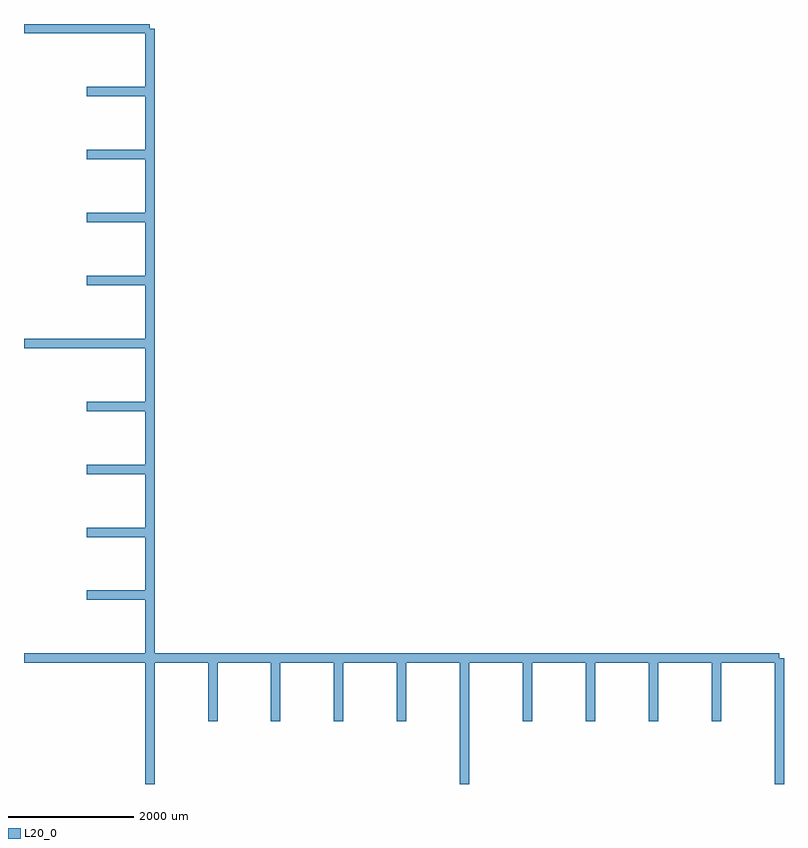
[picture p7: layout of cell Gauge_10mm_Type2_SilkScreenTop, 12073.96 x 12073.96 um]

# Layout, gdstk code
import gdstk
lib = gdstk.Library(unit=1e-6, precision=1e-09)
L20_0 = (20, 0)

gauge_10mm_type2_silkscr = lib.new_cell('Gauge_10mm_Type2_SilkScreenTop')
gauge_10mm_type2_silkscr.add(gdstk.FlexPath([(9999.98,0),(9999.98,-1998.98)], 149.998, ends="flush", simple_path=True, layer=20, datatype=0))  # L20_0
gauge_10mm_type2_silkscr.add(gdstk.FlexPath([(0,0),(9999.98,0)], 149.998, ends="flush", simple_path=True, layer=20, datatype=0))  # L20_0
gauge_10mm_type2_silkscr.add(gdstk.FlexPath([(0,0),(0,-1998.98)], 149.998, ends="flush", simple_path=True, layer=20, datatype=0))  # L20_0
gauge_10mm_type2_silkscr.add(gdstk.FlexPath([(5001.26,0),(5001.26,-1998.98)], 149.998, ends="flush", simple_path=True, layer=20, datatype=0))  # L20_0
gauge_10mm_type2_silkscr.add(gdstk.FlexPath([(1000.76,0),(1000.76,-1000.76)], 149.998, ends="flush", simple_path=True, layer=20, datatype=0))  # L20_0
gauge_10mm_type2_silkscr.add(gdstk.FlexPath([(1998.98,0),(1998.98,-1000.76)], 149.998, ends="flush", simple_path=True, layer=20, datatype=0))  # L20_0
gauge_10mm_type2_silkscr.add(gdstk.FlexPath([(2999.74,0),(2999.74,-1000.76)], 149.998, ends="flush", simple_path=True, layer=20, datatype=0))  # L20_0
gauge_10mm_type2_silkscr.add(gdstk.FlexPath([(4000.5,0),(4000.5,-1000.76)], 149.998, ends="flush", simple_path=True, layer=20, datatype=0))  # L20_0
gauge_10mm_type2_silkscr.add(gdstk.FlexPath([(5999.48,0),(5999.48,-1000.76)], 149.998, ends="flush", simple_path=True, layer=20, datatype=0))  # L20_0
gauge_10mm_type2_silkscr.add(gdstk.FlexPath([(7000.24,0),(7000.24,-1000.76)], 149.998, ends="flush", simple_path=True, layer=20, datatype=0))  # L20_0
gauge_10mm_type2_silkscr.add(gdstk.FlexPath([(8001,0),(8001,-1000.76)], 149.998, ends="flush", simple_path=True, layer=20, datatype=0))  # L20_0
gauge_10mm_type2_silkscr.add(gdstk.FlexPath([(8999.22,0),(8999.22,-1000.76)], 149.998, ends="flush", simple_path=True, layer=20, datatype=0))  # L20_0
gauge_10mm_type2_silkscr.add(gdstk.FlexPath([(0,0),(0,9999.98)], 149.998, ends="flush", simple_path=True, layer=20, datatype=0))  # L20_0
gauge_10mm_type2_silkscr.add(gdstk.FlexPath([(0,9999.98),(-1998.98,9999.98)], 149.998, ends="flush", simple_path=True, layer=20, datatype=0))  # L20_0
gauge_10mm_type2_silkscr.add(gdstk.FlexPath([(0,0),(-1998.98,0)], 149.998, ends="flush", simple_path=True, layer=20, datatype=0))  # L20_0
gauge_10mm_type2_silkscr.add(gdstk.FlexPath([(0,5001.26),(-1998.98,5001.26)], 149.998, ends="flush", simple_path=True, layer=20, datatype=0))  # L20_0
gauge_10mm_type2_silkscr.add(gdstk.FlexPath([(0,1000.76),(-1000.76,1000.76)], 149.998, ends="flush", simple_path=True, layer=20, datatype=0))  # L20_0
gauge_10mm_type2_silkscr.add(gdstk.FlexPath([(0,1998.98),(-1000.76,1998.98)], 149.998, ends="flush", simple_path=True, layer=20, datatype=0))  # L20_0
gauge_10mm_type2_silkscr.add(gdstk.FlexPath([(0,2999.74),(-1000.76,2999.74)], 149.998, ends="flush", simple_path=True, layer=20, datatype=0))  # L20_0
gauge_10mm_type2_silkscr.add(gdstk.FlexPath([(0,4000.5),(-1000.76,4000.5)], 149.998, ends="flush", simple_path=True, layer=20, datatype=0))  # L20_0
gauge_10mm_type2_silkscr.add(gdstk.FlexPath([(0,5999.48),(-1000.76,5999.48)], 149.998, ends="flush", simple_path=True, layer=20, datatype=0))  # L20_0
gauge_10mm_type2_silkscr.add(gdstk.FlexPath([(0,7000.24),(-1000.76,7000.24)], 149.998, ends="flush", simple_path=True, layer=20, datatype=0))  # L20_0
gauge_10mm_type2_silkscr.add(gdstk.FlexPath([(0,8001),(-1000.76,8001)], 149.998, ends="flush", simple_path=True, layer=20, datatype=0))  # L20_0
gauge_10mm_type2_silkscr.add(gdstk.FlexPath([(0,8999.22),(-1000.76,8999.22)], 149.998, ends="flush", simple_path=True, layer=20, datatype=0))  # L20_0
gauge_10mm_type2_silkscr.add(gdstk.Label('10mm', (9999.98,-2700.02), layer=9, texttype=0))
gauge_10mm_type2_silkscr.add(gdstk.Label('0', (0,-2799.08), layer=9, texttype=0))
gauge_10mm_type2_silkscr.add(gdstk.Label('5', (4998.72,-2900.68), layer=9, texttype=0))
gauge_10mm_type2_silkscr.add(gdstk.Label('0', (-3101.34,0), layer=9, texttype=0))
gauge_10mm_type2_silkscr.add(gdstk.Label('5', (-3101.34,4899.66), layer=9, texttype=0))
gauge_10mm_type2_silkscr.add(gdstk.Label('10mm', (-3901.44,9999.98), layer=9, texttype=0))
gauge_10mm_type2_silkscr.add(gdstk.Label('type', (10200.64,-4800.6), layer=9, texttype=0))
gauge_10mm_type2_silkscr.add(gdstk.Label('devicename', (-7698.74,200.66), layer=9, texttype=0))

lib.write_gds('Gauge_10mm_Type2_SilkScreenTop.gds')
